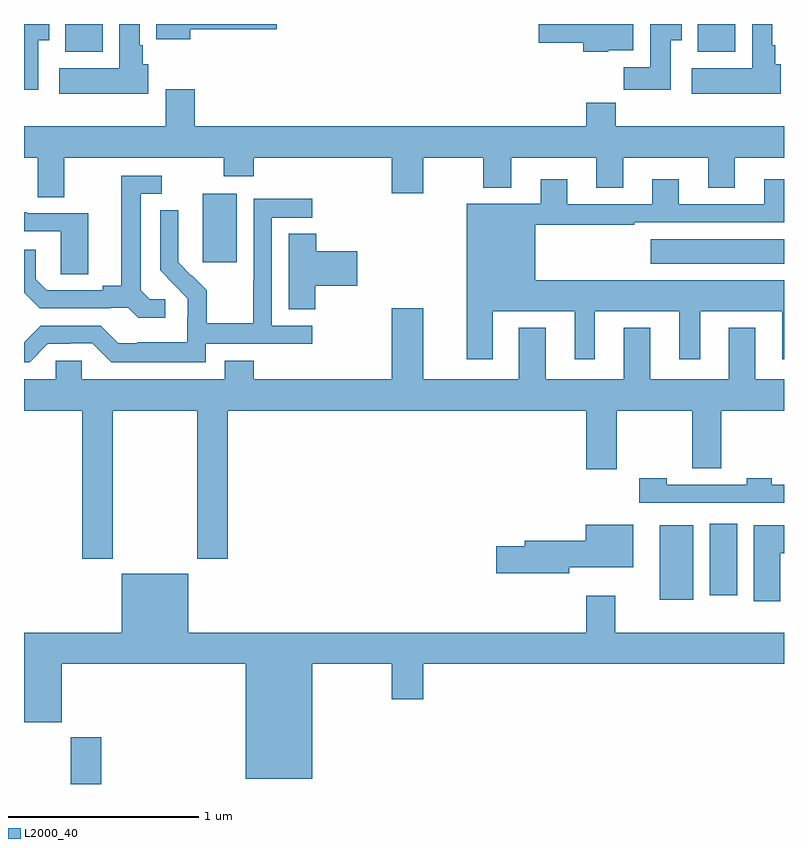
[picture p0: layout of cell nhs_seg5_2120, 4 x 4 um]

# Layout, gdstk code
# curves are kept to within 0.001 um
import gdstk
lib = gdstk.Library(unit=1e-6, precision=1e-09)
def R(c, l, rs):  # rectangles x0, y0, x1, y1
    for r in rs: c.add(gdstk.rectangle(r[:2], r[2:], *l))
def P(c, l, *ps):  # polygons
    for p in ps: c.add(gdstk.Polygon(p, *l))
L2000_40 = (2000, 40)

nhs_seg5_2120 = lib.new_cell('nhs_seg5_2120')
R(nhs_seg5_2120, L2000_40, [(235.246,850.799,235.406,851.044), (238.346,851.768,238.522,852.16), (238.61,851.793,238.753,852.169), (238.299,853.538,239,853.666), (235.94,853.545,236.119,853.906), (235.217,854.654,235.414,854.799), (238.547,854.654,238.743,854.799)])
P(nhs_seg5_2120, L2000_40, [(235.654,854.586),(235.624,854.586),(235.624,854.686),(235.609,854.686),(235.609,854.799),(235.502,854.799),(235.502,854.566),(235.185,854.566),(235.185,854.432),(235.654,854.432)],
  [(235.075,854.713),(235.132,854.713),(235.132,854.799),(235,854.799),(235,854.454),(235.075,854.454)],
  [(238.405,854.713),(238.462,854.713),(238.462,854.799),(238.295,854.799),(238.295,854.572),(238.156,854.572),(238.156,854.454),(238.405,854.454)],
  [(238.074,854.66),(238.207,854.66),(238.207,854.799),(237.708,854.799),(237.708,854.701),(237.944,854.701),(237.944,854.654),(238.074,854.654)],
  [(235.876,854.771),(236.329,854.771),(236.329,854.799),(235.697,854.799),(235.697,854.72),(235.876,854.72)],
  [(238.984,854.586),(238.954,854.586),(238.954,854.686),(238.939,854.686),(238.939,854.799),(238.832,854.799),(238.832,854.566),(238.515,854.566),(238.515,854.432),(238.984,854.432)],
  [(238.115,854.384),(237.959,854.384),(237.959,854.26),(235.898,854.26),(235.898,854.455),(235.745,854.455),(235.745,854.26),(235,854.26),(235,854.096),(235.073,854.096),(235.073,853.888),(235.213,853.888),(235.213,854.096),(236.05,854.096),(236.05,853.997),(236.21,853.997),(236.21,854.096),(236.936,854.096),(236.936,853.908),(237.1,853.908),(237.1,854.096),(237.418,854.096),(237.418,853.937),(237.565,853.937),(237.565,854.096),(238.013,854.096),(238.013,853.936),(238.153,853.936),(238.153,854.096),(238.601,854.096),(238.601,853.936),(238.741,853.936),(238.741,854.096),(239,854.096),(239,854.26),(238.115,854.26)],
  [(235.744,853.35),(235.662,853.35),(235.615,853.397),(235.615,853.905),(235.726,853.905),(235.726,854.001),(235.511,854.001),(235.511,853.421),(235.415,853.421),(235.415,853.398),(235.12,853.398),(235.063,853.455),(235.063,853.612),(235,853.612),(235,853.384),(235.082,853.302),(235.454,853.302),(235.454,853.305),(235.548,853.305),(235.6,853.253),(235.744,853.253)],
  [(237.466,853.286),(237.899,853.286),(237.899,853.035),(238.003,853.035),(238.003,853.286),(238.448,853.286),(238.448,853.035),(238.558,853.035),(238.558,853.286),(238.991,853.286),(238.991,853.035),(239,853.035),(239,853.45),(237.691,853.45),(237.691,853.743),(238.211,853.743),(238.211,853.755),(239,853.755),(239,853.981),(238.895,853.981),(238.895,853.851),(238.447,853.851),(238.447,853.981),(238.307,853.981),(238.307,853.851),(237.859,853.851),(237.859,853.981),(237.719,853.981),(237.719,853.852),(237.329,853.852),(237.329,853.035),(237.466,853.035)],
  [(235.956,853.116),(236.518,853.116),(236.518,853.212),(236.304,853.212),(236.304,853.779),(236.518,853.779),(236.518,853.878),(236.208,853.878),(236.208,853.448),(236.206,853.448),(236.206,853.225),(235.961,853.225),(235.961,853.399),(235.884,853.476),(235.881,853.473),(235.811,853.544),(235.812,853.82),(235.716,853.82),(235.716,853.502),(235.862,853.354),(235.862,853.257),(235.86,853.257),(235.86,853.123),(235.597,853.123),(235.597,853.119),(235.497,853.119),(235.404,853.212),(235.089,853.212),(235,853.123),(235,853.02),(235.029,853.02),(235.125,853.116),(235.244,853.116),(235.244,853.119),(235.359,853.119),(235.459,853.019),(235.956,853.019)],
  [(235.339,853.803),(235.015,853.803),(235.015,853.807),(235,853.807),(235,853.707),(235.194,853.707),(235.194,853.483),(235.339,853.483)],
  [(236.532,853.421),(236.755,853.421),(236.755,853.604),(236.537,853.604),(236.537,853.694),(236.393,853.694),(236.393,853.297),(236.532,853.297)],
  [(235.467,852.764),(235.912,852.764),(235.912,851.985),(236.072,851.985),(236.072,852.764),(237.959,852.764),(237.959,852.456),(238.119,852.456),(238.119,852.764),(238.516,852.764),(238.516,852.46),(238.67,852.46),(238.67,852.764),(239,852.764),(239,852.928),(238.849,852.928),(238.849,853.201),(238.709,853.201),(238.709,852.928),(238.297,852.928),(238.297,853.201),(238.157,853.201),(238.157,852.928),(237.745,852.928),(237.745,853.201),(237.605,853.201),(237.605,852.928),(237.1,852.928),(237.1,853.303),(236.936,853.303),(236.936,852.928),(236.21,852.928),(236.21,853.027),(236.057,853.027),(236.057,852.928),(235.305,852.928),(235.305,853.026),(235.167,853.026),(235.167,852.928),(235,852.928),(235,852.764),(235.307,852.764),(235.307,851.985),(235.467,851.985)],
  [(239,852.375),(238.935,852.375),(238.935,852.408),(238.803,852.408),(238.803,852.375),(238.383,852.375),(238.383,852.408),(238.239,852.408),(238.239,852.279),(239,852.279)],
  [(237.87,851.939),(238.207,851.939),(238.207,852.163),(237.956,852.163),(237.956,852.08),(237.635,852.08),(237.635,852.05),(237.486,852.05),(237.486,851.908),(237.87,851.908)],
  [(238.981,852.013),(239,852.013),(239,852.16),(238.841,852.16),(238.841,851.76),(238.981,851.76)],
  [(236.518,851.432),(236.936,851.432),(236.936,851.244),(237.1,851.244),(237.1,851.432),(239,851.432),(239,851.596),(238.111,851.596),(238.111,851.791),(237.959,851.791),(237.959,851.596),(235.864,851.596),(235.864,851.905),(235.514,851.905),(235.514,851.596),(235,851.596),(235,851.123),(235.198,851.123),(235.198,851.432),(236.168,851.432),(236.168,850.826),(236.518,850.826)])

lib.write_gds('nhs_seg5_2120.gds')
